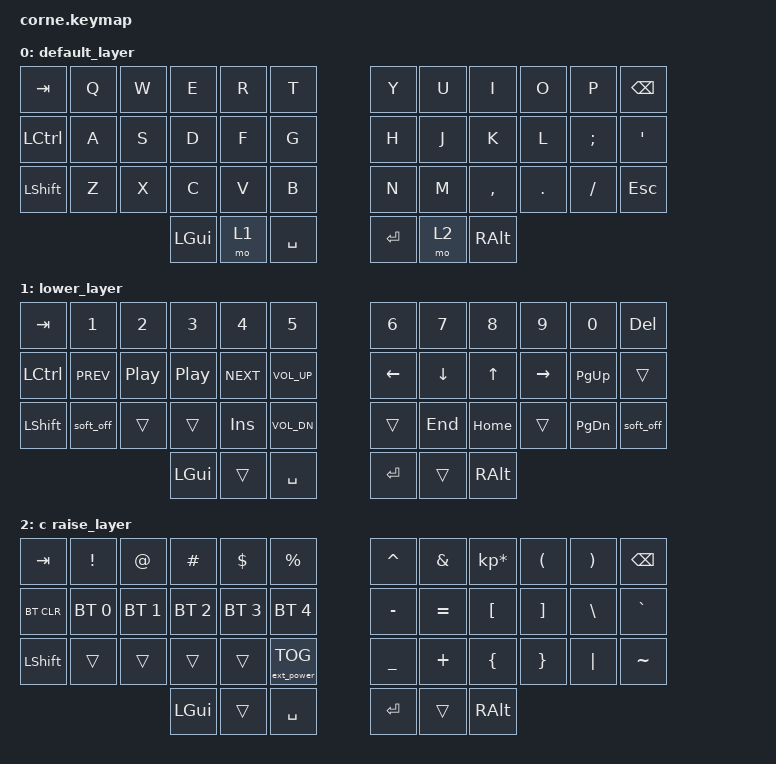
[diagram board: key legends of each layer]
/*
 * Copyright (c) 2020 The ZMK Contributors
 *
 * SPDX-License-Identifier: MIT
 */

#include <behaviors.dtsi>
#include <dt-bindings/zmk/keys.h>
#include <dt-bindings/zmk/bt.h>
#include <dt-bindings/zmk/ext_power.h>

&nice_view_spi {
   cs-gpios = <&pro_micro 0 GPIO_ACTIVE_HIGH>;
};

&soft_off {
    hold-time-ms = <5000>; // Only turn off it the key is held for 5 seconds or longer.
};

/{keymap{
    compatible = "zmk,keymap";
        default_layer{
        // -----------------------------------------------------------------------------------------
        //     |  TAB |  Q  |  W  |  E  |  R  |  T  |            |  Y  |  U   |  I      |  O   |  P      | BKSP |
        //     | CTRL |  A  |  S  |  D  |  F  |  G  |            |  H  |  J   |  K      |  L   |  ;      |  '   |
        //     | SHFT |  Z  |  X  |  C  |  V  |  B  |            |  N  |  M   |  ,      |  .   |  /      | ESC  |
        //                        | GUI | LWR | SPC |            | ENT | RSE  | ALT |
            bindings = <
               &kp TAB   &kp Q &kp W &kp E &kp R &kp T           &kp Y &kp U  &kp I     &kp O   &kp P    &kp BSPC
               &kp LCTRL &kp A &kp S &kp D &kp F &kp G           &kp H &kp J  &kp K     &kp L   &kp SEMI &kp SQT
               &kp LSHFT &kp Z &kp X &kp C &kp V &kp B           &kp N &kp M  &kp COMMA &kp DOT &kp FSLH &kp ESC
                                      &kp LGUI &mo 1 &kp SPACE   &kp RET &mo 2 &kp RALT
            >;
        };
        lower_layer {
        // -----------------------------------------------------------------------------------------
        //     |  TAB     |  1      |  2      |  3      |  4      |  5          |       |  6      |  7      |  8      |  9      |  0      | DEL  |
        //     | CTRL     | C_PREV  | C_PP    | C_PP    | C_NEXT  | C_VOL_UP    |       | LFT     | DWN     |  UP     | RGT     |  PG_UP  |      |
        //     | SHFT     |         |         |         |  INS    |   C_VOL_DN  |       |         |         |         |         |  PG_DN  |      |
        //                                    | GUI     |         | SPC         |       | ENT     |         | ALT     |
            bindings = <
               &kp TAB   &kp N1      &kp N2   &kp N3   &kp N4     &kp N5                &kp N6   &kp N7   &kp N8     &kp N9    &kp N0     &kp DEL
               &kp LCTRL &kp C_PREV  &kp C_PP &kp C_PP &kp C_NEXT &kp C_VOL_UP          &kp LEFT &kp DOWN &kp UP     &kp RIGHT &kp PG_UP  &trans
               &kp LSHFT &soft_off   &trans   &trans   &kp INS    &kp C_VOL_DN          &trans   &kp END  &kp HOME   &trans    &kp PG_DN   &soft_off
                                  	          &kp LGUI &trans     &kp SPACE             &kp RET  &trans   &kp RALT
            >;
        };c
        
        raise_layer {
        // -----------------------------------------------------------------------------------------
        //     |  TAB     |  !          |  @      |  #          |  $          |  %      |      |  ^      |  &      |  *          |  (      |  )      | BKSP |
        //     | BTCLR    | BT1         | BT2     | BT3         | BT4         | BT5     |      |         |  -      |  =          |  [      |  ]      |  \  |  `   |
        //     | SHFT     |             |         |             |             |         |      |  _      |  +      |  {          |  }      | "|"     |  ~   |
        //                                        | GUI         |             | SPC     |      | ENT     |         | ALT     |
            bindings = <
               &kp TAB    &kp EXCL     &kp AT       &kp HASH     &kp DLLR     &kp PRCNT        &kp CARET &kp AMPS  &kp KP_MULTIPLY &kp LPAR &kp RPAR &kp BSPC
               &bt BT_CLR &bt BT_SEL 0 &bt BT_SEL 1 &bt BT_SEL 2 &bt BT_SEL 3 &bt BT_SEL 4     &kp MINUS &kp EQUAL &kp LBKT        &kp RBKT &kp BSLH &kp GRAVE
               &kp LSHFT  &trans       &trans       &trans       &trans       &ext_power EP_TOG &kp UNDER &kp PLUS  &kp LBRC        &kp RBRC &kp PIPE &kp TILDE
                            	                   &kp LGUI      &trans       &kp SPACE       &kp RET   &trans    &kp RALT
            >;
        };
    };
};
